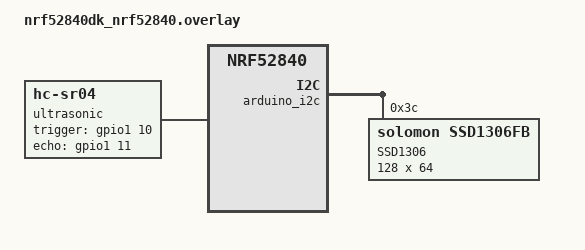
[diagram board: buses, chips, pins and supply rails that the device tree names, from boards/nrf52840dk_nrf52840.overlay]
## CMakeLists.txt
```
cmake_minimum_required(VERSION 3.13.1)

find_package(Zephyr REQUIRED HINTS ../zephyr)
project(zmk)

target_sources(app PRIVATE src/main.c src/matthew.c src/snow.c)
target_include_directories(app PRIVATE "~/projects/modules/lib/gui/lvgl")

zephyr_cc_option(-Wfatal-errors)
```

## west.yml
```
manifest:

  remotes:
    - name: zephyrproject-rtos
      url-base: https://github.com/zephyrproject-rtos

  projects:
    - name: zephyr
      remote: zephyrproject-rtos
      repo-path: zephyr
      revision: v4.1.0-rc2
      clone-depth: 1
      import:
        name-allowlist:
          - cmsis
          - hal_nordic
          - hal_stm32
          - lvgl
```

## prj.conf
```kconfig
CONFIG_NEWLIB_LIBC=y
CONFIG_NEWLIB_LIBC_FLOAT_PRINTF=y
CONFIG_CBPRINTF_FP_SUPPORT=y

CONFIG_LV_Z_MEM_POOL_SIZE=16384
CONFIG_LV_Z_SHELL=y
CONFIG_MAIN_STACK_SIZE=4096

CONFIG_DISPLAY=y
CONFIG_DISPLAY_LOG_LEVEL_ERR=y

CONFIG_LOG=y
CONFIG_SHELL=n

CONFIG_LVGL=y
CONFIG_LV_USE_LOG=y
CONFIG_LV_USE_LABEL=y
CONFIG_LV_USE_ARC=y
CONFIG_LV_USE_MONKEY=y

CONFIG_INPUT=y

CONFIG_LV_FONT_MONTSERRAT_12=y
CONFIG_LV_FONT_MONTSERRAT_14=y
CONFIG_LV_FONT_MONTSERRAT_16=y
CONFIG_LV_FONT_MONTSERRAT_18=y
CONFIG_LV_FONT_MONTSERRAT_24=y
CONFIG_LV_FONT_MONTSERRAT_48=y
CONFIG_LV_FONT_UNSCII_8=y
CONFIG_LV_FONT_UNSCII_16=y

CONFIG_BT=y
CONFIG_LOG=y
CONFIG_BT_HCI=y
CONFIG_BT_CENTRAL=y
CONFIG_BT_PERIPHERAL=y
CONFIG_BT_BROADCASTER=y
```

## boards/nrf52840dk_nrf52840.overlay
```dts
/ {
    ultrasonic: ultrasonic {
        status = "okay";
        compatible = "hc-sr04";
        trigger-gpios = <&gpio1 10 GPIO_ACTIVE_HIGH>;
        echo-gpios = <&gpio1 11 GPIO_ACTIVE_HIGH>;
    };


    chosen {
        zephyr,display = &ssd1306;
    };
};

&arduino_i2c {

    status = "okay";

    ssd1306: ssd1306@3c {
            status = "okay";
            compatible = "solomon,ssd1306fb";
            reg = <0x3c>;
            label = "SSD1306";
            width = <128>;
            height = <64>;
            segment-offset = <0>;
            page-offset = <0>;
            display-offset = <0>;
            multiplex-ratio = <63>;
            segment-remap;
            com-invdir;
            inversion-on;
            prechargep = <0x22>;
    };

};
```

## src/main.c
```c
#include <stdio.h>
#include <zephyr/kernel.h>
#include <zephyr/device.h>
#include <zephyr/drivers/display.h>
#include <lvgl.h>
#include <zephyr/bluetooth/bluetooth.h>
#include <zephyr/bluetooth/hci.h>
#include <zephyr/bluetooth/conn.h>
#include <zephyr/bluetooth/uuid.h>
#include <zephyr/bluetooth/gatt.h>
#include <zephyr/sys/byteorder.h>

#define STACK_SIZE 4096
#define SCREEN_THREAD_PRIORITY 8
#define BT_THREAD_PRIORITY 9

void screen_thread();
void bt_thread();

K_THREAD_DEFINE(screen_tid, STACK_SIZE, screen_thread, NULL, NULL, NULL, SCREEN_THREAD_PRIORITY, 0, 0);
K_THREAD_DEFINE(bt_tid, STACK_SIZE, bt_thread, NULL, NULL, NULL, BT_THREAD_PRIORITY, 0, 0);

K_MSGQ_DEFINE(lifeQ, sizeof(uint8_t), 1, 1);
K_MSGQ_DEFINE(comboQ, sizeof(uint8_t), 1, 1);
K_MSGQ_DEFINE(scoreQ, sizeof(uint8_t), 1, 1);

LV_IMG_DECLARE(matthew);
LV_IMG_DECLARE(presidentsnow);

void display_matthew() {
	lv_obj_t *img = lv_img_create(lv_scr_act());  // create image object
	lv_img_set_src(img, &presidentsnow);               // set the image source
	lv_obj_align(img, LV_ALIGN_CENTER, 0, 0);
}

// function to display game over text
void game_over(uint32_t color) {
	// get active screen object
    lv_obj_t *screen = lv_scr_act();

    //lv_obj_clean(screen);

    // create text label
    lv_obj_t *label = lv_label_create(screen);
    lv_label_set_text(label, "GAME OVER");

    // set font
    lv_obj_set_style_text_font(label, &lv_font_unscii_16, LV_PART_MAIN);

    // set text color
    lv_obj_set_style_text_color(label, lv_color_hex(color), LV_PART_MAIN);

    // center label
    lv_obj_align(label, LV_ALIGN_CENTER, 0, 0);

    // update screen
    lv_task_handler();
}

// function to display game over text
void update_lives(uint8_t lives) {
	// get active screen object
    lv_obj_t *screen = lv_scr_act();

    // create text label
    lv_obj_t *lifeLabel = lv_label_create(screen);

	// create string with '|'s corresponding to num lives
	char lifeStr[3] = "";
	for (int i = 0; i < lives; i++) {
		strcat(lifeStr, "|");
	}

	// set text
    lv_label_set_text(lifeLabel, lifeStr);

    // set font
    lv_obj_set_style_text_font(lifeLabel, &lv_font_unscii_16, LV_PART_MAIN);

    // set text color
    lv_obj_set_style_text_color(lifeLabel, lv_color_hex(0xff5555), LV_PART_MAIN);

    // center label
    lv_obj_align(lifeLabel, LV_ALIGN_TOP_LEFT, 8, 10);
}

// function to display combo meter
void update_combo(uint32_t combo) {
	// get active screen object
    lv_obj_t *screen = lv_scr_act();

    // create text label
    lv_obj_t *comboLabel = lv_label_create(screen);

	char comboStr[10] = "";
	sprintf(comboStr, "x%d", combo);

	// set text
    lv_label_set_text(comboLabel, comboStr);

    // set font
    lv_obj_set_style_text_font(comboLabel, &lv_font_unscii_16, LV_PART_MAIN);

    // set text color
    lv_obj_set_style_text_color(comboLabel, lv_color_hex(0xFFFFFF), LV_PART_MAIN);

    // center label
    lv_obj_align(comboLabel, LV_ALIGN_BOTTOM_RIGHT, -10, -10);
}

// function to display combo meter
void update_score(uint32_t score) {
	// get active screen object
    lv_obj_t *screen = lv_scr_act();

    // create text label
    lv_obj_t *scoreLabel = lv_label_create(screen);

	char scoreStr[10] = "";
	sprintf(scoreStr, "%d", score);

	// set text
    lv_label_set_text(scoreLabel, scoreStr);

    // set font
    lv_obj_set_style_text_font(scoreLabel, &lv_font_unscii_16, LV_PART_MAIN);

    // set text color
    lv_obj_set_style_text_color(scoreLabel, lv_color_hex(0xFFFFFF), LV_PART_MAIN);

    // center label
    lv_obj_align(scoreLabel, LV_ALIGN_CENTER, 0, 0);
}

// wrapper function to update all stats, clearing screen
void update_stats(uint8_t lives, uint32_t score, uint32_t combo) {
    lv_obj_t *screen = lv_scr_act();
    lv_obj_clean(screen);

	update_lives(lives);
	update_score(score);
	update_combo(combo);
	
    // update screen
    lv_task_handler();
}

void screen_thread() {
	// get screen device
	const struct device *display_dev = DEVICE_DT_GET(DT_CHOSEN(zephyr_display));
	// check device ready
    if (!device_is_ready(display_dev)) {
        printk("Display not ready\n");
        return;
    }
    lv_obj_t *screen = lv_scr_act();

	// init screen
    display_blanking_off(display_dev);
    lv_obj_clean(screen);
	lv_obj_set_style_bg_color(screen, lv_color_hex(0x003a57), LV_PART_MAIN);

	uint8_t lives = 0;
	uint32_t score = 0;
	uint8_t combo = 0;

	uint32_t toggle = 0x00000000;

	k_msgq_get(&lifeQ, &lives, K_NO_WAIT);
	k_msgq_get(&scoreQ, &score, K_NO_WAIT);
	k_msgq_get(&comboQ, &combo, K_NO_WAIT);

	while (1) {
		if (lives > 0) {
			k_msgq_get(&lifeQ, &lives, K_NO_WAIT);
			k_msgq_get(&scoreQ, &score, K_NO_WAIT);
			k_msgq_get(&comboQ, &combo, K_NO_WAIT);
			update_stats(lives, (score * 100), combo);
			k_msleep(1);
		} else {
			k_msgq_get(&lifeQ, &lives, K_NO_WAIT);
			if (lives > 0) {
				continue;
			}
			lv_obj_clean(screen);
			display_matthew();
			game_over(toggle);
			toggle = 0x00FFFFFF - toggle;
			k_msleep(50);
		}
	}
	return;
}

 // ad parsing function for ultrasonic adv
 static bool parse_base_cb(struct bt_data *data, void *user_data) {
	uint8_t lives;
	uint8_t combo;
	uint8_t score;
	if (data->type == BT_DATA_MANUFACTURER_DATA && data->data_len >= 25) {
		const uint8_t *d = data->data;
		lives = d[20];
		printk("Lives:	%d\r\n", lives);
		combo = d[21];
		printk("Combo:	%d\r\n", combo);
		score = d[22];
		printk("Score:	%d\r\n", score);


		k_msgq_put(&lifeQ, &lives, K_NO_WAIT);

		k_msgq_put(&comboQ, &combo, K_NO_WAIT);

		k_msgq_put(&scoreQ, &score, K_NO_WAIT);
	}
	return true;
}

 // return 0 if not mobile mac address
 uint8_t check_base(const bt_addr_le_t *addr) {
	// mac address for mobile node (THINGY52)
	uint8_t baseAddr[6] = {0x97, 0x6D, 0xE6, 0x30, 0x15, 0xD3};
	for (uint8_t i = 0; i < 6; i++) {
		if (addr->a.val[i] == baseAddr[i]) {
			if (i == 5) {
				// thats the one
				printk("matching found\r\n");
				return 1;
			}
		} else {
			break;
		}
	}
	return 0;
 }

static void device_found(const bt_addr_le_t *addr, int8_t rssi, uint8_t type,
	struct net_buf_simple *ad) {
	if (type != BT_GAP_ADV_TYPE_ADV_SCAN_IND) {
		return;
	} 

	if (check_base(addr)) {
		bt_data_parse(ad, parse_base_cb, NULL);
	}
 }

static void start_scan(void) {
	int err;

	/* This demo doesn't require active scan */
	err = bt_le_scan_start(BT_LE_SCAN_PASSIVE, device_found);
	if (err) {
		printk("Scanning failed to start (err %d)\n", err);
		return;
	}

	printk("Scanning successfully started\n");
}

void bt_thread(void) {
	int err;

	err = bt_enable(NULL);
	if (err) {
		printk("Bluetooth init failed (err %d)\n", err);	
		return 0;
	}

	printk("Bluetooth initialized\n");

	start_scan();
	
	return;
}
```
